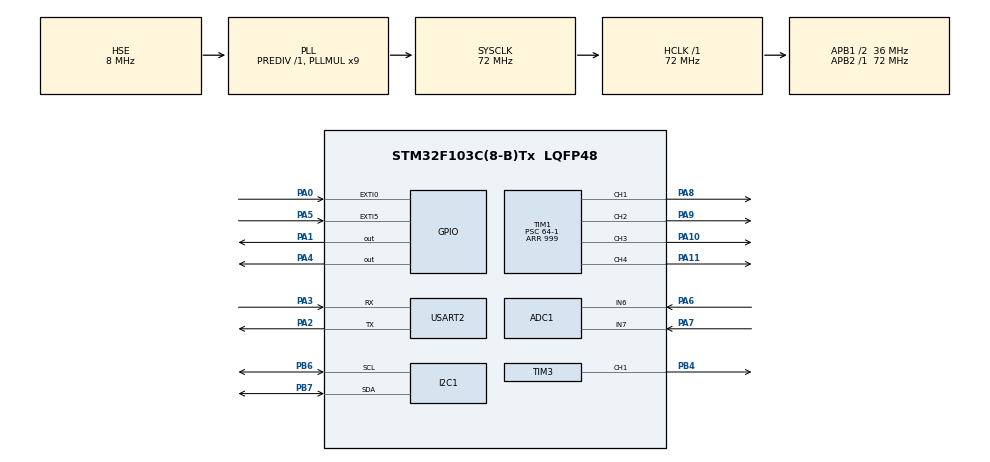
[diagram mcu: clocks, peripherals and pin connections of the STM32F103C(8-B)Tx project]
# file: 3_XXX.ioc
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ADC1.Channel-0\#ChannelRegularConversion=ADC_CHANNEL_6
ADC1.ContinuousConvMode=ENABLE
ADC1.NbrOfConversionFlag=1
ADC1.Rank-0\#ChannelRegularConversion=1
ADC1.SamplingTime-0\#ChannelRegularConversion=ADC_SAMPLETIME_239CYCLES_5
ADC1.master=1
Dma.Request0=TIM3_CH1/TRIG
Dma.TIM3_CH1/TRIG.0.Direction=DMA_MEMORY_TO_PERIPH
Dma.TIM3_CH1/TRIG.0.Instance=DMA1_Channel6
Dma.TIM3_CH1/TRIG.0.MemDataAlignment=DMA_MDATAALIGN_HALFWORD
Dma.TIM3_CH1/TRIG.0.MemInc=DMA_MINC_ENABLE
Dma.TIM3_CH1/TRIG.0.Mode=DMA_NORMAL
Dma.TIM3_CH1/TRIG.0.PeriphDataAlignment=DMA_PDATAALIGN_HALFWORD
Dma.TIM3_CH1/TRIG.0.PeriphInc=DMA_PINC_DISABLE
Dma.TIM3_CH1/TRIG.0.Priority=DMA_PRIORITY_LOW
Mcu.Family=STM32F1
Mcu.Name=STM32F103C(8-B)Tx
Mcu.Package=LQFP48
NVIC.ADC1_2_IRQn=true\:0\:0\:false\:false\:true\:true\:true\:true
NVIC.DMA1_Channel6_IRQn=true\:0\:0\:false\:false\:true\:false\:true\:true
NVIC.PriorityGroup=NVIC_PRIORITYGROUP_4
NVIC.TIM3_IRQn=true\:0\:0\:false\:false\:true\:true\:true\:true
NVIC.USART2_IRQn=true\:0\:0\:false\:false\:true\:true\:true\:true
PA0-WKUP.Signal=GPXTI0
PA1.Signal=GPIO_Output
PA10.Signal=S_TIM1_CH3
PA11.Signal=S_TIM1_CH4
PA13.Mode=Serial_Wire
PA13.Signal=SYS_JTMS-SWDIO
PA14.Mode=Serial_Wire
PA14.Signal=SYS_JTCK-SWCLK
PA2.Mode=Asynchronous
PA2.Signal=USART2_TX
PA3.Mode=Asynchronous
PA3.Signal=USART2_RX
PA4.Signal=GPIO_Output
PA5.Signal=GPXTI5
PA6.Signal=ADCx_IN6
PA7.Signal=ADCx_IN7
PA8.Signal=S_TIM1_CH1
PA9.Signal=S_TIM1_CH2
PB4.Signal=S_TIM3_CH1
PB6.Mode=I2C
PB6.Signal=I2C1_SCL
PB7.Mode=I2C
PB7.Signal=I2C1_SDA
PD0-OSC_IN.Mode=HSE-External-Oscillator
PD0-OSC_IN.Signal=RCC_OSC_IN
PD1-OSC_OUT.Mode=HSE-External-Oscillator
PD1-OSC_OUT.Signal=RCC_OSC_OUT
ProjectManager.HeapSize=0x200
ProjectManager.StackSize=0x400
ProjectManager.TargetToolchain=STM32CubeIDE
RCC.ADCPresc=RCC_ADCPCLK2_DIV6
RCC.AHBFreq_Value=72000000
RCC.APB1CLKDivider=RCC_HCLK_DIV2
RCC.APB1Freq_Value=36000000
RCC.APB1TimFreq_Value=72000000
RCC.APB2Freq_Value=72000000
RCC.APB2TimFreq_Value=72000000
RCC.HCLKFreq_Value=72000000
RCC.PLLMUL=RCC_PLL_MUL9
RCC.PLLSourceVirtual=RCC_PLLSOURCE_HSE
RCC.SYSCLKFreq_VALUE=72000000
RCC.SYSCLKSource=RCC_SYSCLKSOURCE_PLLCLK
RCC.USBFreq_Value=72000000
SH.ADCx_IN6.0=ADC1_IN6,IN6
SH.ADCx_IN7.0=ADC1_IN7,IN7
SH.S_TIM1_CH1.0=TIM1_CH1,PWM Generation1 CH1
SH.S_TIM1_CH2.0=TIM1_CH2,PWM Generation2 CH2
SH.S_TIM1_CH3.0=TIM1_CH3,PWM Generation3 CH3
SH.S_TIM1_CH4.0=TIM1_CH4,PWM Generation4 CH4
SH.S_TIM3_CH1.0=TIM3_CH1,PWM Generation1 CH1
TIM1.Channel-PWM\ Generation1\ CH1=TIM_CHANNEL_1
TIM1.Channel-PWM\ Generation2\ CH2=TIM_CHANNEL_2
TIM1.Channel-PWM\ Generation3\ CH3=TIM_CHANNEL_3
TIM1.Channel-PWM\ Generation4\ CH4=TIM_CHANNEL_4
TIM1.Period=999
TIM1.Prescaler=64-1
TIM3.Channel-PWM\ Generation1\ CH1=TIM_CHANNEL_1
TIM3.Period=99
TIM3.Prescaler=30-1
TIM3.Pulse-PWM\ Generation1\ CH1=50
USART2.VirtualMode=VM_ASYNC
VP_TIM1_VS_ClockSourceINT.Mode=Internal
VP_TIM3_VS_ClockSourceINT.Mode=Internal
board=custom

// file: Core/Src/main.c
/* USER CODE BEGIN Header */
/**
  ******************************************************************************
  * @file           : main.c
  * @brief          : Main program body
  ******************************************************************************
  * @attention
  *
  * Copyright (c) 2024 STMicroelectronics.
  * All rights reserved.
  *
  * This software is licensed under terms that can be found in the LICENSE file
  * in the root directory of this software component.
  * If no LICENSE file comes with this software, it is provided AS-IS.
  *
  ******************************************************************************
  */
/* USER CODE END Header */
#include "main.h"

/* USER CODE BEGIN Includes */
#include <string.h>
#include <stdio.h>
#include <stdlib.h>
#include <stdbool.h>
#include "stm32f1xx_hal.h"
#include "i2c-lcd.h"
#include <ctype.h>
uint32_t adcValue;
uint16_t pwmValue;
uint32_t adcValue2;
uint16_t pwmValue2;
 //  ?ịnh nghĩa LEDS bằng LED_CNT

volatile bool flagRGBReceived = false;
volatile bool flagNumberReceived = false ;
volatile bool flagCommandReceived = false;
extern DMA_HandleTypeDef hdma_tim3_up;
DMA_HandleTypeDef hdma_tim3_up;

/* USER CODE END Includes */

/* USER CODE BEGIN PD */
#define MAX_ALARMS 20
#define MAX_NOTE_LENGTH 10
/* USER CODE END PD */

ADC_HandleTypeDef hadc1;

I2C_HandleTypeDef hi2c1;

TIM_HandleTypeDef htim1;
TIM_HandleTypeDef htim3;
DMA_HandleTypeDef hdma_tim3_ch1_trig;

UART_HandleTypeDef huart2;

/* USER CODE BEGIN PV */
uint8_t data_valid = 1; // Biến để kiểm tra tính hợp lệ của dữ liệu
GPIO_PinState button1State;
GPIO_PinState button2State;
uint8_t rx_data;
uint8_t uart2_rx_buffer[6];  // Expecting 6 bytes for RGB values
uint8_t uart2_rx_index = 0;
char rx_buffer[128];  // Buffer để nhận dữ liệu từ UART
int index1 = 0; // Chỉ số cho STATE_COMMAND
int index2 = 0; // Chỉ số cho STATE_NUMBER
#define RX_BUFFER_SIZE 128
uint8_t button1Flag = 0; // Trạng thái của Button 1 (1 hoặc 0)
uint8_t button2Flag = 0;
uint8_t rxBuffer[1];
const uint32_t adcSendInterval = 500;
//static uint32_t lastAdcSendTime = 0;
uint32_t lastPressTime1 = 0;  // Th ?i gian nhấn Button 1
uint32_t lastPressTime2 = 0;  // Th ?i gian nhấn Button 2
const uint32_t debounceDelay = 300;
char rx_buffer[RX_BUFFER_SIZE];
volatile int adcActive = 0;
char RxBuffer[50];
uint8_t RxIndex = 0;
char timeStr[9] = "";    // Initialize with default values
char dateStr[11] = ""; // Initialize with default values
uint8_t lcdInitialized = 0;
volatile int brightness1 = 0;
volatile int brightness2 = 0;
//biến để lưu trạng thái LED
bool led1State = false;
bool led2State = false;
bool button1Pressed = false; // Trạng thái nút nhấn 1 (true: pressed, false: released)
bool button2Pressed = false; // Trạng thái nút nhấn 2 (true: pressed, false: released)
typedef struct {
    uint8_t hour;
    uint8_t minute;
    uint8_t second;
    char note[MAX_NOTE_LENGTH];
} Alarm;

Alarm alarms[MAX_ALARMS];
uint8_t alarmCount = 0;
uint8_t currentHour = 0;
uint8_t currentMinute = 0;
uint8_t currentSecond = 0;
/* USER CODE END PV */

void SystemClock_Config(void);
static void MX_GPIO_Init(void);
static void MX_DMA_Init(void);
static void MX_ADC1_Init(void);
static void MX_TIM1_Init(void);
static void MX_USART2_UART_Init(void);
static void MX_TIM3_Init(void);
static void MX_I2C1_Init(void);
/* USER CODE BEGIN PFP */
#define LED1_PIN GPIO_PIN_1
#define LED2_PIN GPIO_PIN_4
#define LED_GPIO_PORT GPIOA
#define BUFFER_SIZE 6
char messageBuffer[BUFFER_SIZE];
#define noOfLEDs 17
uint16_t pwmData[24*noOfLEDs];
void ws2812Send(void);
void parseTimeAndDate(char* buffer);
void processCommand(char* command);
void updateLedStatusOnLCD(void);
void updateBrightnessOnLCD(void);
void processAlarm(char* alarmStr);
/* USER CODE END PFP */

/* USER CODE BEGIN 0 */
//void setRGB(uint16_t r, uint16_t g, uint16_t b) {
//    __HAL_TIM_SET_COMPARE(&htim1, TIM_CHANNEL_2, r); //  ? ?
//    __HAL_TIM_SET_COMPARE(&htim1, TIM_CHANNEL_3, g); // Xanh lá
//    __HAL_TIM_SET_COMPARE(&htim1, TIM_CHANNEL_4, b); // Xanh dương
//}
void HAL_TIM_PWM_PulseFinishedCallback(TIM_HandleTypeDef *htim)
{
    HAL_TIM_PWM_Stop_DMA(&htim3, TIM_CHANNEL_1);
    htim3.Instance->CCR1 = 0;
}

void resetAllLED(void)
{
    for (int i = 0; i < 24 * noOfLEDs; i++)
        pwmData[i] = 0; //  ?ặt lại tất cả giá trị LED v ? 0
}

void setAllLED(void)
{
    for (int i = 0; i < 24 * noOfLEDs; i++)
        pwmData[i] = 0; //  ?ặt lại giá trị của tất cả LED
}

void setLED(int LEDposition, int Red, int Green, int Blue)
{
    // Kiểm tra xem LEDposition có hợp lệ không
    if (LEDposition < 0 || LEDposition >= noOfLEDs) return;

    //  ?ặt màu cho LED
    for (int i = 0; i < 8; i++)
    {
        pwmData[24 * LEDposition + 7 - i] = ((Green >> i) & 1) + 1;  // Màu xanh
    }
    for (int i = 0; i < 8; i++)
    {
        pwmData[24 * LEDposition + 15 - i] = ((Red >> i) & 1) + 1;    // Màu đ ?
    }
    for (int i = 0; i < 8; i++)
    {
        pwmData[24 * LEDposition + 23 - i] = ((Blue >> i) & 1) + 1;   // Màu xanh dương
    }
}

// Hàm xử lý giá trị RGB
void ProcessReceivedRGBValues(char *rgbData) {
    int red, green, blue;
    sscanf(rgbData, "%d,%d,%d", &red, &green, &blue);

    // Chuyển đổi giá trị RGB cho từng LED
    for (int i = 0; i < 16; i++) {
        setLED(i, red, green, blue);
    }

    ws2812Send(); // Gửi dữ liệu màu cho LED
}

void ws2812Send(void)
{
    HAL_TIM_PWM_Start_DMA(&htim3, TIM_CHANNEL_1, (uint32_t *)pwmData, 24 * noOfLEDs);
}

uint32_t mapValue(uint32_t input)
{
	return (input * 1023)/3200;
}
uint32_t mapValue2(uint32_t input2)
{
	return (input2 * 1023)/3200;
}

void HAL_GPIO_EXTI_Callback(uint16_t GPIO_Pin)
{
    uint32_t currentTime = HAL_GetTick();

    if (GPIO_Pin == GPIO_PIN_0 && (currentTime - lastPressTime1 > debounceDelay))
    {
        button1State = !button1State;
        led1State = button1State;  // �?ồng bộ trạng thái LED với nút nhấn
        if (button1State) {
            HAL_GPIO_WritePin(GPIOA, GPIO_PIN_1, GPIO_PIN_SET);
            button1Flag = 1;
            HAL_TIM_PWM_Start(&htim1, TIM_CHANNEL_1);
        } else {
            HAL_GPIO_WritePin(GPIOA, GPIO_PIN_1, GPIO_PIN_RESET);
            button1Flag = 0;
            HAL_TIM_PWM_Stop(&htim1, TIM_CHANNEL_1);
        }
        lastPressTime1 = currentTime;
        updateLedStatusOnLCD();
    }

    if (GPIO_Pin == GPIO_PIN_5 && (currentTime - lastPressTime2 > debounceDelay))
    {
        button2State = !button2State;
        led2State = button2State;  // �?ồng bộ trạng thái LED với nút nhấn
        if (button2State) {
            HAL_GPIO_WritePin(GPIOA, GPIO_PIN_4, GPIO_PIN_SET);
            button2Flag = 1;
            HAL_TIM_PWM_Start(&htim1, TIM_CHANNEL_2);
        } else {
            HAL_GPIO_WritePin(GPIOA, GPIO_PIN_4, GPIO_PIN_RESET);
            button2Flag = 0;
            HAL_TIM_PWM_Stop(&htim1, TIM_CHANNEL_2);
        }
        lastPressTime2 = currentTime;
        updateLedStatusOnLCD();
    }
}

void handleCommand(char receivedChar) {

    switch (receivedChar) {
        case 'a':
            led1State = true;
            button1State = true;
            HAL_GPIO_WritePin(GPIOA, GPIO_PIN_1, GPIO_PIN_SET);
            button1Flag = 1;
            HAL_TIM_PWM_Start(&htim1, TIM_CHANNEL_1);
            break;
        case 'b':
            led1State = false;
            button1State = false;
            HAL_GPIO_WritePin(GPIOA, GPIO_PIN_1, GPIO_PIN_RESET);
            button1Flag = 0;
            HAL_TIM_PWM_Stop(&htim1, TIM_CHANNEL_1);
            break;
        case 'c':
            led2State = true;
            button2State = true;
            HAL_GPIO_WritePin(GPIOA, GPIO_PIN_4, GPIO_PIN_SET);
            button2Flag = 1;
            HAL_TIM_PWM_Start(&htim1, TIM_CHANNEL_2);
            break;
        case 'd':
            led2State = false;
            button2State = false;
            HAL_GPIO_WritePin(GPIOA, GPIO_PIN_4, GPIO_PIN_RESET);
            button2Flag = 0;
            HAL_TIM_PWM_Stop(&htim1, TIM_CHANNEL_2);
            break;
        case 'e':
            adcActive = 1;
            break;
        case 'f':
            adcActive = 0;
            break;
        default:
            break;
    }
    updateLedStatusOnLCD();
}

enum UARTState {
    STATE_COMMAND,
    STATE_RGB,
    STATE_NUMBER
};

enum UARTState currentState = STATE_COMMAND;

// Function to process the received RGB values

void ProcessReceivedCommaSeparatedString(char *data) {
    // B�? qua ký tự 'B' ở đầu nếu có
    if(data[0] == 'B') {
        data++; // Di chuyển con tr�? qua ký tự đầu tiên
    }

    char *token;
    char *rest = data;

    // Tách giá trị đầu tiên
    token = strtok(rest, ",");
    if (token != NULL) {
        int newBrightness1 = atoi(token);
        if(newBrightness1 >= 0 && newBrightness1 <= 100) {
            brightness1 = newBrightness1;
            uint32_t pwm_value1 = (brightness1 * htim1.Init.Period) / 100;
            HAL_TIM_PWM_Start(&htim1, TIM_CHANNEL_1);
            __HAL_TIM_SET_COMPARE(&htim1, TIM_CHANNEL_1, pwm_value1);
        }
    }

    // Tách giá trị thứ hai
    token = strtok(NULL, ",");
    if (token != NULL) {
        int newBrightness2 = atoi(token);
        if(newBrightness2 >= 0 && newBrightness2 <= 100) {
            brightness2 = newBrightness2;
            uint32_t pwm_value2 = (brightness2 * htim1.Init.Period) / 100;
            HAL_TIM_PWM_Start(&htim1, TIM_CHANNEL_2);
            __HAL_TIM_SET_COMPARE(&htim1, TIM_CHANNEL_2, pwm_value2);
        }
    }

    // Cập nhật LCD
    updateBrightnessOnLCD();
}

void updateBrightnessOnLCD(void) {
    char buffer[20];

    // Xóa dòng cũ trước khi hiển thị giá trị mới
    lcd_put_cur(2, 0);
    lcd_send_string("          ");
    lcd_put_cur(3, 0);
    lcd_send_string("          ");

    // Hiển thị giá trị mới
    lcd_put_cur(2, 0);
    snprintf(buffer, sizeof(buffer), "LB1: %3d%%", brightness1);
    lcd_send_string(buffer);

    lcd_put_cur(3, 0);
    snprintf(buffer, sizeof(buffer), "LB2: %3d%%", brightness2);
    lcd_send_string(buffer);

    HAL_Delay(10); // Đảm bảo LCD có đủ thời gian cập nhật
}

void initializeLCD(void) {
  HAL_Delay(100);
  lcd_init();
  HAL_Delay(100);

  lcd_clear();
  HAL_Delay(50);

  // Hiển thị nhãn ban đầu
  lcd_put_cur(0, 0);
  lcd_send_string("Time: "); // 6 ký tự cho "Time: "
  lcd_put_cur(1, 0);
  lcd_send_string("Date: "); // 6 ký tự cho "Date: "

  // Hiển thị trạng thái LED ban đầu
  lcd_put_cur(0, 11); // Bắt đầu từ cột thứ 11 (sau "Time: ")
  lcd_send_string("LED1: OFF");
  lcd_put_cur(1, 11);
  lcd_send_string("LED2: OFF");

  // Thêm dòng cho độ sáng
  lcd_put_cur(2, 0);
  lcd_send_string("LB1: 0%  ");
  lcd_put_cur(3, 0);
  lcd_send_string("LB2: 0%  ");

  lcdInitialized = 1;
}

// Function to update LCD without clearing
void updateLCD(void) {
    if (!lcdInitialized) {
        initializeLCD();
        return;
    }

    // Update only time portion
    lcd_put_cur(0, 0);
    lcd_send_string(timeStr);

    // Update only date portion
    lcd_put_cur(1, 0);
    lcd_send_string(dateStr);
}

void parseTimeAndDate(char* buffer) {
    // Check if received string has minimum required length
    if(strlen(buffer) >= 19) {
        // Extract time (HH:MM:SS)
        strncpy(timeStr, buffer, 8);
        timeStr[8] = '\0';

        // Extract date (DD/MM/YYYY)
        strncpy(dateStr, buffer + 9, 10);
        dateStr[10] = '\0';

        // Update LCD without clearing
        updateLCD();
    }
}

void HAL_UART_RxCpltCallback(UART_HandleTypeDef *huart) {
    if(huart->Instance == USART2) {
        char receivedChar = rx_data;

        // Process time/date data
        if((receivedChar >= '0' && receivedChar <= '9') ||
           receivedChar == ':' || receivedChar == '/' ||
           receivedChar == ' ' || receivedChar == '\n') {

            if(RxIndex < sizeof(RxBuffer) - 1) {
                RxBuffer[RxIndex++] = receivedChar;
            }

            if(receivedChar == '\n' || RxIndex >= sizeof(RxBuffer) - 1) {
                RxBuffer[RxIndex] = '\0';
                parseTimeAndDate(RxBuffer);
                RxIndex = 0;
            }
        }
        // Process commands
        else if(receivedChar == 'L' || receivedChar == 'a' || receivedChar == 'b' ||
                receivedChar == 'c' || receivedChar == 'd' || receivedChar == 'e' ||
                receivedChar == 'f' || receivedChar == 'S') {

            if(RxIndex < sizeof(RxBuffer) - 1) {
                RxBuffer[RxIndex++] = receivedChar;
            }

            if(receivedChar == '\n' || RxIndex >= sizeof(RxBuffer) - 1) {
                RxBuffer[RxIndex] = '\0';
                if(RxBuffer[0] == 'S') {
                    processAlarm(RxBuffer);
                } else {
                    processCommand(RxBuffer);
                }
                RxIndex = 0;
            }
        }
        // Process brightness data
        else if(isdigit(receivedChar) || receivedChar == ',' || receivedChar == 'B'|| receivedChar == '\n') {
            if(RxIndex < sizeof(RxBuffer) - 1) {
                RxBuffer[RxIndex++] = receivedChar;
            }

            if(receivedChar == '\n' || RxIndex >= sizeof(RxBuffer) - 1) {
                RxBuffer[RxIndex] = '\0';
                ProcessReceivedCommaSeparatedString(RxBuffer);
                RxIndex = 0;
            }
        }

        HAL_UART_Receive_IT(&huart2, (uint8_t *)&rx_data, 1);
    }
}

void processCommand(char* command) {
    if (command [0] == 'L') {
        int ledIndex;
        char ledStateStr[4]; // To store "ON" or "OFF"
        sscanf(command + 2, "%d %s", &ledIndex, ledStateStr);

        bool ledState = (strcmp(ledStateStr, "ON") == 0);

        if (ledIndex == 1) {
            led1State = ledState;
            if (ledState) {
                HAL_TIM_PWM_Start(&htim1, TIM_CHANNEL_1);
            } else {
                HAL_TIM_PWM_Stop(&htim1, TIM_CHANNEL_1);
            }
        } else if (ledIndex == 2) {
            led2State = ledState;
            if (ledState) {
                HAL_TIM_PWM_Start(&htim1, TIM_CHANNEL_2);
            } else {
                HAL_TIM_PWM_Stop(&htim1, TIM_CHANNEL_2);
            }
        }

        updateLedStatusOnLCD();
    } else {
        // Handle other commands ('a', 'b', 'c', 'd', 'e', 'f')
        handleCommand(command[0]);
    }
}

void processAlarm(char* alarmStr) {
    if(alarmCount < MAX_ALARMS) {
        int hour, minute, second;
        char note[MAX_NOTE_LENGTH];
        if(sscanf(alarmStr, "S%d:%d:%d:%s", &hour, &minute, &second, note) == 4) {
            alarms[alarmCount].hour = hour;
            alarms[alarmCount].minute = minute;
            alarms[alarmCount].second = second;
            strncpy(alarms[alarmCount].note, note, MAX_NOTE_LENGTH - 1);
            alarms[alarmCount].note[MAX_NOTE_LENGTH - 1] = '\0';
            alarmCount++;
        }
    }
}

void checkAlarms(void) {
    for(int i = 0; i < alarmCount; i++) {
        if(alarms[i].hour == currentHour &&
           alarms[i].minute == currentMinute &&
           alarms[i].second == currentSecond) {
            processCommand(alarms[i].note);

            // Xóa báo thức đã thực hiện
            for(int j = i; j < alarmCount - 1; j++) {
                alarms[j] = alarms[j + 1];
            }
            alarmCount--;
            i--; // Kiểm tra lại vị trí hiện tại
        }
    }
}

void updateLedStatusOnLCD() {
    // Cập nhật trạng thái LED
    lcd_put_cur(0, 11);
    lcd_send_string(led1State ? "LED1: ON " : "LED1: OFF");
    lcd_put_cur(1, 11);
    lcd_send_string(led2State ? "LED2: ON " : "LED2: OFF");

    // Cập nhật trạng thái nút nhấn
    lcd_put_cur(2, 11);
    lcd_send_string(button1State ? "BTN1: ON " : "BTN1: OFF");
    lcd_put_cur(3, 11);
    lcd_send_string(button2State ? "BTN2: ON " : "BTN2: OFF");
}

void receiveDataFromSTM32() {
    if (HAL_UART_Receive(&huart2, (uint8_t *)rx_buffer, RX_BUFFER_SIZE, HAL_MAX_DELAY) == HAL_OK) {
        rx_buffer[RX_BUFFER_SIZE - 1] = '\0'; //  ?ảm bảo chuỗi kết thúc bằng null

        // G ?i hàm để xử lý chuỗi có dấu phẩy
        ProcessReceivedCommaSeparatedString(rx_buffer);
    }
}
/* USER CODE END 0 */

int main(void)
{

  /* MCU Configuration--------------------------------------------------------*/

  /* Reset of all peripherals, Initializes the Flash interface and the Systick. */
  HAL_Init();

  /* Configure the system clock */
  SystemClock_Config();

  /* Initialize all configured peripherals */
  MX_GPIO_Init();
  MX_DMA_Init();
  MX_ADC1_Init();
  MX_TIM1_Init();
  MX_USART2_UART_Init();
  MX_TIM3_Init();
  MX_I2C1_Init();
  /* USER CODE BEGIN 2 */
  // Initialize LCD
  lcd_init();
  // Initialize LCD with delay
     HAL_Delay(200);  // Wait for system to stabilize
     initializeLCD();

//  HAL_TIM_PWM_Start_DMA(&htim3, TIM_CHANNEL_1, (uint32_t*)led_data, LED_COUNT * 24);
  HAL_UART_Receive_IT(&huart2, (uint8_t *)&rx_buffer[index1], 1);
//  SendNeoPixelColor(255, 0, 255);
//  HAL_TIM_PWM_Start(&htim1, TIM_CHANNEL_1);
//  HAL_ADC_Start_IT(&hadc1);

  HAL_TIM_PWM_Start(&htim1, TIM_CHANNEL_1);
  HAL_TIM_PWM_Start(&htim1, TIM_CHANNEL_2);

  // Khởi tạo trạng thái ban đầu
     led1State = false;
     led2State = false;
     button1State = false;
     button2State = false;
     button1Flag = 0;
     button2Flag = 0;

  /* USER CODE END 2 */

  /* Infinite loop */
  while (1)
  {

    /* USER CODE BEGIN 3 */

	  checkAlarms();
	  if (adcActive) {
	      //  ? ?c giá trị từ PA6 (ADC1 Channel 6)
	      ADC_ChannelConfTypeDef sConfig = {0};
	      sConfig.Channel = ADC_CHANNEL_6;  // PA6 là Channel 6
	      sConfig.Rank = 1;
	      HAL_ADC_ConfigChannel(&hadc1, &sConfig);
	      HAL_ADC_Start(&hadc1);
	      HAL_ADC_PollForConversion(&hadc1, HAL_MAX_DELAY);
	      uint32_t adcValue = HAL_ADC_GetValue(&hadc1);  // Giá trị cho TIM1 CH1
	      HAL_ADC_Stop(&hadc1);

	      //  ? ?c giá trị từ PA7 (ADC1 Channel 7)
	      sConfig.Channel = ADC_CHANNEL_7;  // PA7 là Channel 7
	      HAL_ADC_ConfigChannel(&hadc1, &sConfig);
	      HAL_ADC_Start(&hadc1);
	      HAL_ADC_PollForConversion(&hadc1, HAL_MAX_DELAY);
	      uint32_t adcValue2 = HAL_ADC_GetValue(&hadc1); // Giá trị cho TIM1 CH2
	      HAL_ADC_Stop(&hadc1);

	      //  ?nh xạ giá trị ADC sang PWM
	      uint32_t pwmValue = mapValue(adcValue);
	      uint32_t pwmValue2 =mapValue2(adcValue2);

	      //  ?ặt giá trị PWM cho TIM1 Channel 1 và Channel 2
	      __HAL_TIM_SET_COMPARE(&htim1, TIM_CHANNEL_1, pwmValue);
	      __HAL_TIM_SET_COMPARE(&htim1, TIM_CHANNEL_2, pwmValue2);
	  }
	  HAL_Delay(100);
  }
  /* USER CODE END 3 */
}

void SystemClock_Config(void)
{
  RCC_OscInitTypeDef RCC_OscInitStruct = {0};
  RCC_ClkInitTypeDef RCC_ClkInitStruct = {0};
  RCC_PeriphCLKInitTypeDef PeriphClkInit = {0};

  /** Initializes the RCC Oscillators according to the specified parameters
  * in the RCC_OscInitTypeDef structure.
  */
  RCC_OscInitStruct.OscillatorType = RCC_OSCILLATORTYPE_HSE;
  RCC_OscInitStruct.HSEState = RCC_HSE_ON;
  RCC_OscInitStruct.HSEPredivValue = RCC_HSE_PREDIV_DIV1;
  RCC_OscInitStruct.HSIState = RCC_HSI_ON;
  RCC_OscInitStruct.PLL.PLLState = RCC_PLL_ON;
  RCC_OscInitStruct.PLL.PLLSource = RCC_PLLSOURCE_HSE;
  RCC_OscInitStruct.PLL.PLLMUL = RCC_PLL_MUL9;
  if (HAL_RCC_OscConfig(&RCC_OscInitStruct) != HAL_OK)
  {
    Error_Handler();
  }

  /** Initializes the CPU, AHB and APB buses clocks
  */
  RCC_ClkInitStruct.ClockType = RCC_CLOCKTYPE_HCLK|RCC_CLOCKTYPE_SYSCLK
                              |RCC_CLOCKTYPE_PCLK1|RCC_CLOCKTYPE_PCLK2;
  RCC_ClkInitStruct.SYSCLKSource = RCC_SYSCLKSOURCE_PLLCLK;
  RCC_ClkInitStruct.AHBCLKDivider = RCC_SYSCLK_DIV1;
  RCC_ClkInitStruct.APB1CLKDivider = RCC_HCLK_DIV2;
  RCC_ClkInitStruct.APB2CLKDivider = RCC_HCLK_DIV1;

  if (HAL_RCC_ClockConfig(&RCC_ClkInitStruct, FLASH_LATENCY_2) != HAL_OK)
  {
    Error_Handler();
  }
  PeriphClkInit.PeriphClockSelection = RCC_PERIPHCLK_ADC;
  PeriphClkInit.AdcClockSelection = RCC_ADCPCLK2_DIV6;
  if (HAL_RCCEx_PeriphCLKConfig(&PeriphClkInit) != HAL_OK)
  {
    Error_Handler();
  }
}

static void MX_ADC1_Init(void)
{

  ADC_ChannelConfTypeDef sConfig = {0};

  /** Common config
  */
  hadc1.Instance = ADC1;
  hadc1.Init.ScanConvMode = ADC_SCAN_DISABLE;
  hadc1.Init.ContinuousConvMode = ENABLE;
  hadc1.Init.DiscontinuousConvMode = DISABLE;
  hadc1.Init.ExternalTrigConv = ADC_SOFTWARE_START;
  hadc1.Init.DataAlign = ADC_DATAALIGN_RIGHT;
  hadc1.Init.NbrOfConversion = 1;
  if (HAL_ADC_Init(&hadc1) != HAL_OK)
  {
    Error_Handler();
  }

  /** Configure Regular Channel
  */
  sConfig.Channel = ADC_CHANNEL_6;
  sConfig.Rank = ADC_REGULAR_RANK_1;
  sConfig.SamplingTime = ADC_SAMPLETIME_239CYCLES_5;
  if (HAL_ADC_ConfigChannel(&hadc1, &sConfig) != HAL_OK)
  {
    Error_Handler();
  }

}

static void MX_I2C1_Init(void)
{

  hi2c1.Instance = I2C1;
  hi2c1.Init.ClockSpeed = 100000;
  hi2c1.Init.DutyCycle = I2C_DUTYCYCLE_2;
  hi2c1.Init.OwnAddress1 = 0;
  hi2c1.Init.AddressingMode = I2C_ADDRESSINGMODE_7BIT;
  hi2c1.Init.DualAddressMode = I2C_DUALADDRESS_DISABLE;
  hi2c1.Init.OwnAddress2 = 0;
  hi2c1.Init.GeneralCallMode = I2C_GENERALCALL_DISABLE;
  hi2c1.Init.NoStretchMode = I2C_NOSTRETCH_DISABLE;
  if (HAL_I2C_Init(&hi2c1) != HAL_OK)
  {
    Error_Handler();
  }

}

static void MX_TIM1_Init(void)
{

  TIM_ClockConfigTypeDef sClockSourceConfig = {0};
  TIM_MasterConfigTypeDef sMasterConfig = {0};
  TIM_OC_InitTypeDef sConfigOC = {0};
  TIM_BreakDeadTimeConfigTypeDef sBreakDeadTimeConfig = {0};

  htim1.Instance = TIM1;
  htim1.Init.Prescaler = 64-1;
  htim1.Init.CounterMode = TIM_COUNTERMODE_UP;
  htim1.Init.Period = 999;
  htim1.Init.ClockDivision = TIM_CLOCKDIVISION_DIV1;
  htim1.Init.RepetitionCounter = 0;
  htim1.Init.AutoReloadPreload = TIM_AUTORELOAD_PRELOAD_DISABLE;
  if (HAL_TIM_Base_Init(&htim1) != HAL_OK)
  {
    Error_Handler();
  }
  sClockSourceConfig.ClockSource = TIM_CLOCKSOURCE_INTERNAL;
  if (HAL_TIM_ConfigClockSource(&htim1, &sClockSourceConfig) != HAL_OK)
  {
    Error_Handler();
  }
  if (HAL_TIM_PWM_Init(&htim1) != HAL_OK)
  {
    Error_Handler();
  }
  sMasterConfig.MasterOutputTrigger = TIM_TRGO_RESET;
  sMasterConfig.MasterSlaveMode = TIM_MASTERSLAVEMODE_DISABLE;
  if (HAL_TIMEx_MasterConfigSynchronization(&htim1, &sMasterConfig) != HAL_OK)
  {
    Error_Handler();
  }
  sConfigOC.OCMode = TIM_OCMODE_PWM1;
  sConfigOC.Pulse = 0;
  sConfigOC.OCPolarity = TIM_OCPOLARITY_HIGH;
  sConfigOC.OCNPolarity = TIM_OCNPOLARITY_HIGH;
  sConfigOC.OCFastMode = TIM_OCFAST_DISABLE;
  sConfigOC.OCIdleState = TIM_OCIDLESTATE_RESET;
  sConfigOC.OCNIdleState = TIM_OCNIDLESTATE_RESET;
  if (HAL_TIM_PWM_ConfigChannel(&htim1, &sConfigOC, TIM_CHANNEL_1) != HAL_OK)
  {
    Error_Handler();
  }
  if (HAL_TIM_PWM_ConfigChannel(&htim1, &sConfigOC, TIM_CHANNEL_2) != HAL_OK)
  {
    Error_Handler();
  }
  if (HAL_TIM_PWM_ConfigChannel(&htim1, &sConfigOC, TIM_CHANNEL_3) != HAL_OK)
  {
    Error_Handler();
  }
  if (HAL_TIM_PWM_ConfigChannel(&htim1, &sConfigOC, TIM_CHANNEL_4) != HAL_OK)
  {
    Error_Handler();
  }
  sBreakDeadTimeConfig.OffStateRunMode = TIM_OSSR_DISABLE;
  sBreakDeadTimeConfig.OffStateIDLEMode = TIM_OSSI_DISABLE;
  sBreakDeadTimeConfig.LockLevel = TIM_LOCKLEVEL_OFF;
  sBreakDeadTimeConfig.DeadTime = 0;
  sBreakDeadTimeConfig.BreakState = TIM_BREAK_DISABLE;
  sBreakDeadTimeConfig.BreakPolarity = TIM_BREAKPOLARITY_HIGH;
  sBreakDeadTimeConfig.AutomaticOutput = TIM_AUTOMATICOUTPUT_DISABLE;
  if (HAL_TIMEx_ConfigBreakDeadTime(&htim1, &sBreakDeadTimeConfig) != HAL_OK)
  {
    Error_Handler();
  }
  HAL_TIM_MspPostInit(&htim1);

}

static void MX_TIM3_Init(void)
{

  TIM_ClockConfigTypeDef sClockSourceConfig = {0};
  TIM_MasterConfigTypeDef sMasterConfig = {0};
  TIM_OC_InitTypeDef sConfigOC = {0};

  htim3.Instance = TIM3;
  htim3.Init.Prescaler = 30-1;
  htim3.Init.CounterMode = TIM_COUNTERMODE_UP;
  htim3.Init.Period = 99;
  htim3.Init.ClockDivision = TIM_CLOCKDIVISION_DIV1;
  htim3.Init.AutoReloadPreload = TIM_AUTORELOAD_PRELOAD_DISABLE;
  if (HAL_TIM_Base_Init(&htim3) != HAL_OK)
  {
    Error_Handler();
  }
  sClockSourceConfig.ClockSource = TIM_CLOCKSOURCE_INTERNAL;
  if (HAL_TIM_ConfigClockSource(&htim3, &sClockSourceConfig) != HAL_OK)
  {
    Error_Handler();
  }
  if (HAL_TIM_PWM_Init(&htim3) != HAL_OK)
  {
    Error_Handler();
  }
  sMasterConfig.MasterOutputTrigger = TIM_TRGO_RESET;
  sMasterConfig.MasterSlaveMode = TIM_MASTERSLAVEMODE_DISABLE;
  if (HAL_TIMEx_MasterConfigSynchronization(&htim3, &sMasterConfig) != HAL_OK)
  {
    Error_Handler();
  }
  sConfigOC.OCMode = TIM_OCMODE_PWM1;
  sConfigOC.Pulse = 50;
  sConfigOC.OCPolarity = TIM_OCPOLARITY_HIGH;
  sConfigOC.OCFastMode = TIM_OCFAST_DISABLE;
  if (HAL_TIM_PWM_ConfigChannel(&htim3, &sConfigOC, TIM_CHANNEL_1) != HAL_OK)
  {
    Error_Handler();
  }
  HAL_TIM_MspPostInit(&htim3);

}

static void MX_USART2_UART_Init(void)
{

  huart2.Instance = USART2;
  huart2.Init.BaudRate = 115200;
  huart2.Init.WordLength = UART_WORDLENGTH_8B;
  huart2.Init.StopBits = UART_STOPBITS_1;
  huart2.Init.Parity = UART_PARITY_NONE;
  huart2.Init.Mode = UART_MODE_TX_RX;
  huart2.Init.HwFlowCtl = UART_HWCONTROL_NONE;
  huart2.Init.OverSampling = UART_OVERSAMPLING_16;
  if (HAL_UART_Init(&huart2) != HAL_OK)
  {
    Error_Handler();
  }

}

static void MX_DMA_Init(void)
{

  /* DMA controller clock enable */
  __HAL_RCC_DMA1_CLK_ENABLE();

  /* DMA interrupt init */
  /* DMA1_Channel6_IRQn interrupt configuration */
  HAL_NVIC_SetPriority(DMA1_Channel6_IRQn, 0, 0);
  HAL_NVIC_EnableIRQ(DMA1_Channel6_IRQn);

}

static void MX_GPIO_Init(void)
{
  GPIO_InitTypeDef GPIO_InitStruct = {0};

  /* GPIO Ports Clock Enable */
  __HAL_RCC_GPIOD_CLK_ENABLE();
  __HAL_RCC_GPIOA_CLK_ENABLE();
  __HAL_RCC_GPIOB_CLK_ENABLE();

  /*Configure GPIO pin Output Level */
  HAL_GPIO_WritePin(GPIOA, GPIO_PIN_1|GPIO_PIN_4, GPIO_PIN_RESET);

  /*Configure GPIO pins : PA0 PA5 */
  GPIO_InitStruct.Pin = GPIO_PIN_0|GPIO_PIN_5;
  GPIO_InitStruct.Mode = GPIO_MODE_IT_RISING;
  GPIO_InitStruct.Pull = GPIO_NOPULL;
  HAL_GPIO_Init(GPIOA, &GPIO_InitStruct);

  /*Configure GPIO pins : PA1 PA4 */
  GPIO_InitStruct.Pin = GPIO_PIN_1|GPIO_PIN_4;
  GPIO_InitStruct.Mode = GPIO_MODE_OUTPUT_PP;
  GPIO_InitStruct.Pull = GPIO_NOPULL;
  GPIO_InitStruct.Speed = GPIO_SPEED_FREQ_LOW;
  HAL_GPIO_Init(GPIOA, &GPIO_InitStruct);

/* USER CODE BEGIN MX_GPIO_Init_2 */
  HAL_NVIC_SetPriority(EXTI0_IRQn, 2, 0);
        HAL_NVIC_EnableIRQ(EXTI0_IRQn);

        /* Kích hoạt và cấu hình ngắt cho dòng EXTI1 */
        HAL_NVIC_SetPriority(EXTI9_5_IRQn, 2, 0);
        HAL_NVIC_EnableIRQ(EXTI9_5_IRQn);
/* USER CODE END MX_GPIO_Init_2 */
}

/* USER CODE BEGIN 4 */
void EXTI0_IRQHandler(void)
{
    HAL_GPIO_EXTI_IRQHandler(GPIO_PIN_0);
}

void EXTI9_5_IRQHandler(void)
{
    HAL_GPIO_EXTI_IRQHandler(GPIO_PIN_5);
}
/* USER CODE END 4 */

void Error_Handler(void)
{
  __disable_irq();
  while (1)
  {
  }
}
